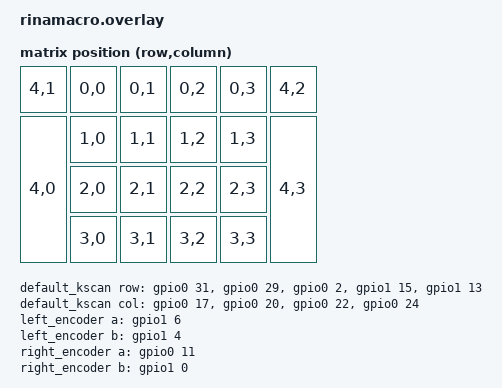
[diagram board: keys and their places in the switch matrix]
#include <dt-bindings/zmk/matrix_transform.h>
#include <physical_layouts.dtsi>

/{
    default_kscan: kscan {
        compatible = "zmk,kscan-gpio-matrix";
        label = "default_kscan";
        diode-direction = "col2row";

        row-gpios = <&gpio0 31 (GPIO_ACTIVE_HIGH | GPIO_PULL_DOWN)>,
                    <&gpio0 29 (GPIO_ACTIVE_HIGH | GPIO_PULL_DOWN)>,
                    <&gpio0 2  (GPIO_ACTIVE_HIGH | GPIO_PULL_DOWN)>,
                    <&gpio1 15 (GPIO_ACTIVE_HIGH | GPIO_PULL_DOWN)>,
                    <&gpio1 13 (GPIO_ACTIVE_HIGH | GPIO_PULL_DOWN)>;
        
        col-gpios = <&gpio0 17 GPIO_ACTIVE_HIGH>,
                    <&gpio0 20 GPIO_ACTIVE_HIGH>,
                    <&gpio0 22 GPIO_ACTIVE_HIGH>,
                    <&gpio0 24 GPIO_ACTIVE_HIGH>;

    };

    default_transform: matrix_transform {
        compatible = "zmk,matrix-transform";
        rows = <4>;
        columns = <6>;

        map = <
            RC(4,1) RC(0,0) RC(0,1) RC(0,2) RC(0,3) RC(4,2)
            RC(4,0) RC(1,0) RC(1,1) RC(1,2) RC(1,3) RC(4,3)
                    RC(2,0) RC(2,1) RC(2,2) RC(2,3) 
                    RC(3,0) RC(3,1) RC(3,2) RC(3,3)
            >;
    };

    left_encoder: encoder_left {
        compatible = "alps,ec11";
        a-gpios = <&gpio1 6 (GPIO_ACTIVE_HIGH | GPIO_PULL_UP)>;
        b-gpios = <&gpio1 4 (GPIO_ACTIVE_HIGH | GPIO_PULL_UP)>;
        steps = <80>;
        status = "okay";    
    };
    
    right_encoder: encoder_right {
        compatible = "alps,ec11";
        a-gpios = <&gpio0 11 (GPIO_ACTIVE_HIGH | GPIO_PULL_UP)>;
        b-gpios = <&gpio1 0 (GPIO_ACTIVE_HIGH | GPIO_PULL_UP)>;
        steps = <80>;
        status = "okay";    
    };    

    sensors: sensors {
        compatible = "zmk,keymap-sensors";
        sensors = <&left_encoder &right_encoder>;
        triggers-per-rotation = <20>;
    };

    physical_layout0: physical_layout_0 {
        compatible = "zmk,physical-layout";
        display-name = "Default Layout";
        transform = <&default_transform>;
        kscan = <&default_kscan>;

        keys  //                     w   h    x    y     rot    rx    ry
            = <&key_physical_attrs 100 100    0    0       0     0     0> // Left Encoder

            , <&key_physical_attrs 100 100  100    0       0     0     0> // Row 0
            , <&key_physical_attrs 100 100  200    0       0     0     0>
            , <&key_physical_attrs 100 100  300    0       0     0     0>             
            , <&key_physical_attrs 100 100  400    0       0     0     0>                        

            , <&key_physical_attrs 100 100  500    0       0     0     0> // Right Encoder

            , <&key_physical_attrs 100 300    0    100     0     0     0> // Left Long Key

            , <&key_physical_attrs 100 100  100    100     0     0     0> // Row 1
            , <&key_physical_attrs 100 100  200    100     0     0     0>
            , <&key_physical_attrs 100 100  300    100     0     0     0>             
            , <&key_physical_attrs 100 100  400    100     0     0     0>   

            , <&key_physical_attrs 100 300  500    100     0     0     0> // Right Long Key

            , <&key_physical_attrs 100 100  100    200     0     0     0> // Row 2
            , <&key_physical_attrs 100 100  200    200     0     0     0>
            , <&key_physical_attrs 100 100  300    200     0     0     0>             
            , <&key_physical_attrs 100 100  400    200     0     0     0> 



            , <&key_physical_attrs 100 100  100    300     0     0     0> // Row 3
            , <&key_physical_attrs 100 100  200    300     0     0     0>
            , <&key_physical_attrs 100 100  300    300     0     0     0>             
            , <&key_physical_attrs 100 100  400    300     0     0     0> 

            ;
    };


};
